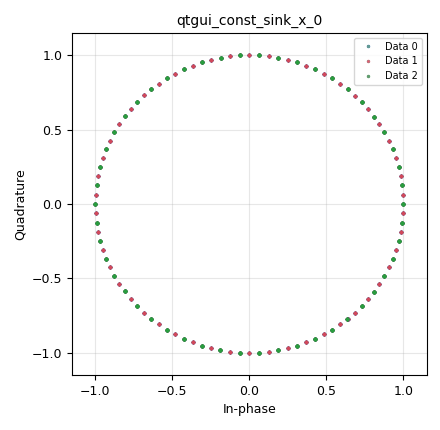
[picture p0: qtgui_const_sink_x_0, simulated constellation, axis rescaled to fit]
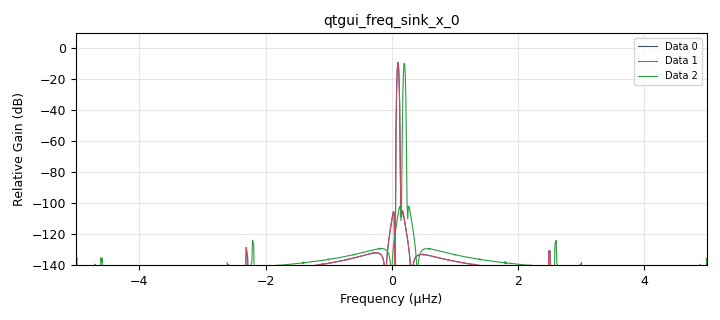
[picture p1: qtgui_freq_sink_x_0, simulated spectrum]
<?xml version='1.0' encoding='utf-8'?>
<?grc format='1' created='3.7.11'?>
<flow_graph>
<block>
<key>options</key>
<param><key>id</key><value>top_block</value></param>
<param><key>generate_options</key><value>qt_gui</value></param>
</block>
<block>
<key>variable_qtgui_range</key>
<param><key>id</key><value>amplitude_a</value></param>
<param><key>value</key><value>1.0</value></param>
<param><key>orient</key><value>Qt.Horizontal</value></param>
<param><key>start</key><value>0.0</value></param>
<param><key>step</key><value>0.1</value></param>
<param><key>stop</key><value>2.0</value></param>
</block>
<block>
<key>variable_qtgui_range</key>
<param><key>id</key><value>amplitude_b</value></param>
<param><key>value</key><value>1.0</value></param>
<param><key>orient</key><value>Qt.Horizontal</value></param>
<param><key>start</key><value>0.0</value></param>
<param><key>step</key><value>0.1</value></param>
<param><key>stop</key><value>2.0</value></param>
</block>
<block>
<key>variable_qtgui_range</key>
<param><key>id</key><value>frequency_a</value></param>
<param><key>value</key><value>.0000001</value></param>
<param><key>orient</key><value>Qt.Horizontal</value></param>
<param><key>start</key><value>.0000001</value></param>
<param><key>step</key><value>.0000001</value></param>
<param><key>stop</key><value>.0000100</value></param>
</block>
<block>
<key>variable_qtgui_range</key>
<param><key>id</key><value>frequency_b</value></param>
<param><key>value</key><value>.0000001</value></param>
<param><key>orient</key><value>Qt.Horizontal</value></param>
<param><key>start</key><value>.0000001</value></param>
<param><key>step</key><value>.0000001</value></param>
<param><key>stop</key><value>.0000100</value></param>
</block>
<block>
<key>variable</key>
<param><key>id</key><value>samp_rate</value></param>
<param><key>value</key><value>.00001</value></param>
</block>
<block>
<key>analog_sig_source_x</key>
<param><key>id</key><value>analog_sig_source_x_0</value></param>
<param><key>amp</key><value>amplitude_a</value></param>
<param><key>freq</key><value>frequency_a</value></param>
<param><key>offset</key><value>0</value></param>
<param><key>type</key><value>complex</value></param>
<param><key>samp_rate</key><value>samp_rate</value></param>
<param><key>waveform</key><value>analog.GR_COS_WAVE</value></param>
</block>
<block>
<key>analog_sig_source_x</key>
<param><key>id</key><value>analog_sig_source_x_0_0</value></param>
<param><key>amp</key><value>amplitude_b</value></param>
<param><key>freq</key><value>frequency_b</value></param>
<param><key>offset</key><value>0</value></param>
<param><key>type</key><value>complex</value></param>
<param><key>samp_rate</key><value>samp_rate</value></param>
<param><key>waveform</key><value>analog.GR_SIN_WAVE</value></param>
</block>
<block>
<key>blocks_multiply_xx</key>
<param><key>id</key><value>blocks_multiply_xx_0</value></param>
<param><key>type</key><value>complex</value></param>
</block>
<block>
<key>qtgui_const_sink_x</key>
<param><key>id</key><value>qtgui_const_sink_x_0</value></param>
<param><key>grid</key><value>True</value></param>
<param><key>color2</key><value>"green"</value></param>
<param><key>color3</key><value>"black"</value></param>
<param><key>nconnections</key><value>3</value></param>
<param><key>size</key><value>1024</value></param>
<param><key>type</key><value>complex</value></param>
<param><key>update_time</key><value>0.1</value></param>
<param><key>xmax</key><value>10</value></param>
<param><key>xmin</key><value>-10</value></param>
</block>
<block>
<key>qtgui_freq_sink_x</key>
<param><key>id</key><value>qtgui_freq_sink_x_0</value></param>
<param><key>bw</key><value>samp_rate</value></param>
<param><key>fc</key><value>0</value></param>
<param><key>fftsize</key><value>1024</value></param>
<param><key>label2</key><value></value></param>
<param><key>label3</key><value></value></param>
<param><key>nconnections</key><value>3</value></param>
<param><key>showports</key><value>True</value></param>
<param><key>type</key><value>complex</value></param>
<param><key>wintype</key><value>firdes.WIN_BLACKMAN_hARRIS</value></param>
</block>
<block>
<key>qtgui_time_sink_x</key>
<param><key>id</key><value>qtgui_time_sink_x_0</value></param>
<param><key>_enabled</key><value>0</value></param>
<param><key>gui_hint</key><value>source</value></param>
<param><key>grid</key><value>True</value></param>
<param><key>color1</key><value>"blue"</value></param>
<param><key>label1</key><value></value></param>
<param><key>color2</key><value>"red"</value></param>
<param><key>label2</key><value></value></param>
<param><key>color3</key><value>"green"</value></param>
<param><key>label3</key><value></value></param>
<param><key>color4</key><value>"black"</value></param>
<param><key>label4</key><value></value></param>
<param><key>nconnections</key><value>2</value></param>
<param><key>size</key><value>256</value></param>
<param><key>srate</key><value>samp_rate</value></param>
<param><key>type</key><value>complex</value></param>
</block>
<connection><source_block_id>analog_sig_source_x_0</source_block_id><sink_block_id>blocks_multiply_xx_0</sink_block_id><source_key>0</source_key><sink_key>0</sink_key></connection>
<connection><source_block_id>analog_sig_source_x_0</source_block_id><sink_block_id>qtgui_const_sink_x_0</sink_block_id><source_key>0</source_key><sink_key>0</sink_key></connection>
<connection><source_block_id>analog_sig_source_x_0</source_block_id><sink_block_id>qtgui_freq_sink_x_0</sink_block_id><source_key>0</source_key><sink_key>0</sink_key></connection>
<connection><source_block_id>analog_sig_source_x_0</source_block_id><sink_block_id>qtgui_time_sink_x_0</sink_block_id><source_key>0</source_key><sink_key>0</sink_key></connection>
<connection><source_block_id>analog_sig_source_x_0_0</source_block_id><sink_block_id>blocks_multiply_xx_0</sink_block_id><source_key>0</source_key><sink_key>1</sink_key></connection>
<connection><source_block_id>analog_sig_source_x_0_0</source_block_id><sink_block_id>qtgui_const_sink_x_0</sink_block_id><source_key>0</source_key><sink_key>1</sink_key></connection>
<connection><source_block_id>analog_sig_source_x_0_0</source_block_id><sink_block_id>qtgui_freq_sink_x_0</sink_block_id><source_key>0</source_key><sink_key>1</sink_key></connection>
<connection><source_block_id>analog_sig_source_x_0_0</source_block_id><sink_block_id>qtgui_time_sink_x_0</sink_block_id><source_key>0</source_key><sink_key>1</sink_key></connection>
<connection><source_block_id>blocks_multiply_xx_0</source_block_id><sink_block_id>qtgui_const_sink_x_0</sink_block_id><source_key>0</source_key><sink_key>2</sink_key></connection>
<connection><source_block_id>blocks_multiply_xx_0</source_block_id><sink_block_id>qtgui_freq_sink_x_0</sink_block_id><source_key>0</source_key><sink_key>2</sink_key></connection>
</flow_graph>
